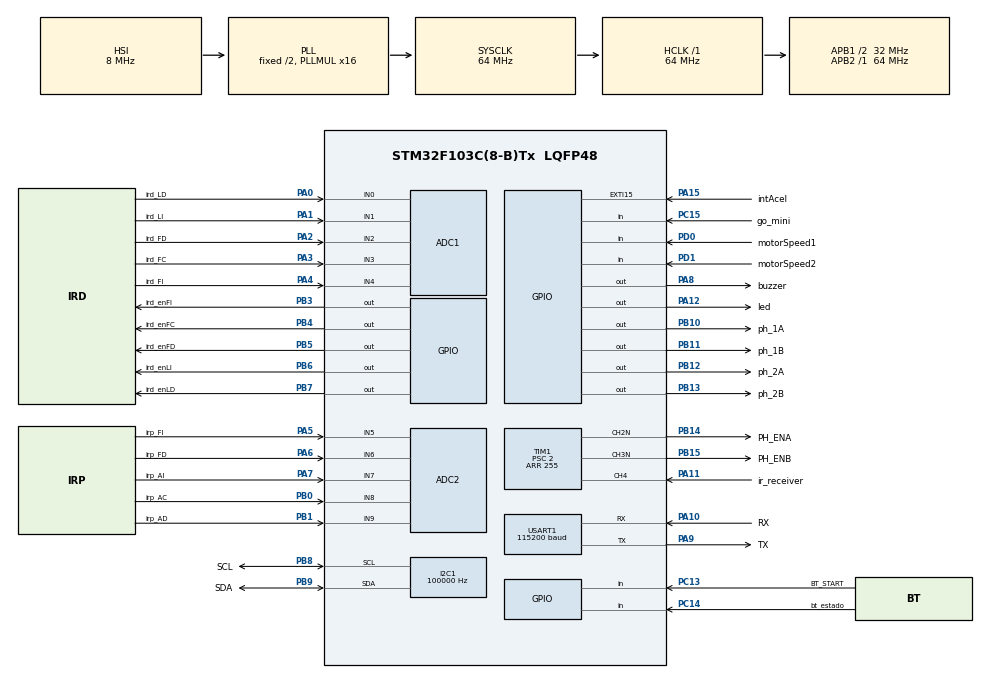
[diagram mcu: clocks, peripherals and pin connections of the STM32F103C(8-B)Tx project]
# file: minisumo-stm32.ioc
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ADC1.Channel-10\#ChannelRegularConversion=ADC_CHANNEL_1
ADC1.Channel-11\#ChannelRegularConversion=ADC_CHANNEL_2
ADC1.Channel-12\#ChannelRegularConversion=ADC_CHANNEL_3
ADC1.Channel-13\#ChannelRegularConversion=ADC_CHANNEL_4
ADC1.Channel-9\#ChannelRegularConversion=ADC_CHANNEL_0
ADC1.ContinuousConvMode=DISABLE
ADC1.DataAlign=ADC_DATAALIGN_RIGHT
ADC1.DiscontinuousConvMode=DISABLE
ADC1.EnableRegularConversion=ENABLE
ADC1.InjNumberOfConversion=0
ADC1.Mode=ADC_DUALMODE_REGSIMULT
ADC1.NbrOfConversion=5
ADC1.NbrOfConversionFlag=1
ADC1.Rank-10\#ChannelRegularConversion=2
ADC1.Rank-11\#ChannelRegularConversion=3
ADC1.Rank-12\#ChannelRegularConversion=4
ADC1.Rank-13\#ChannelRegularConversion=5
ADC1.Rank-9\#ChannelRegularConversion=1
ADC1.SamplingTime-10\#ChannelRegularConversion=ADC_SAMPLETIME_71CYCLES_5
ADC1.SamplingTime-11\#ChannelRegularConversion=ADC_SAMPLETIME_71CYCLES_5
ADC1.SamplingTime-12\#ChannelRegularConversion=ADC_SAMPLETIME_71CYCLES_5
ADC1.SamplingTime-13\#ChannelRegularConversion=ADC_SAMPLETIME_71CYCLES_5
ADC1.SamplingTime-9\#ChannelRegularConversion=ADC_SAMPLETIME_71CYCLES_5
ADC1.ScanConvMode=ADC_SCAN_ENABLE
ADC1.master=1
ADC2.Channel-31\#ChannelRegularConversion=ADC_CHANNEL_5
ADC2.Channel-36\#ChannelRegularConversion=ADC_CHANNEL_6
ADC2.Channel-37\#ChannelRegularConversion=ADC_CHANNEL_7
ADC2.Channel-38\#ChannelRegularConversion=ADC_CHANNEL_8
ADC2.Channel-39\#ChannelRegularConversion=ADC_CHANNEL_9
ADC2.ContinuousConvMode=DISABLE
ADC2.DataAlign=ADC_DATAALIGN_RIGHT
ADC2.DiscontinuousConvMode=DISABLE
ADC2.EnableAnalogWatchDog=false
ADC2.EnableRegularConversion=ENABLE
ADC2.InjNumberOfConversion=0
ADC2.Mode=ADC_DUALMODE_REGSIMULT
ADC2.NbrOfConversion=5
ADC2.NbrOfConversionFlag=1
ADC2.Rank-31\#ChannelRegularConversion=1
ADC2.Rank-36\#ChannelRegularConversion=2
ADC2.Rank-37\#ChannelRegularConversion=3
ADC2.Rank-38\#ChannelRegularConversion=4
ADC2.Rank-39\#ChannelRegularConversion=5
ADC2.SamplingTime-31\#ChannelRegularConversion=ADC_SAMPLETIME_71CYCLES_5
ADC2.SamplingTime-36\#ChannelRegularConversion=ADC_SAMPLETIME_71CYCLES_5
ADC2.SamplingTime-37\#ChannelRegularConversion=ADC_SAMPLETIME_71CYCLES_5
ADC2.SamplingTime-38\#ChannelRegularConversion=ADC_SAMPLETIME_71CYCLES_5
ADC2.SamplingTime-39\#ChannelRegularConversion=ADC_SAMPLETIME_71CYCLES_5
ADC2.ScanConvMode=ADC_SCAN_ENABLE
Dma.ADC1.2.Direction=DMA_PERIPH_TO_MEMORY
Dma.ADC1.2.Instance=DMA1_Channel1
Dma.ADC1.2.MemDataAlignment=DMA_MDATAALIGN_WORD
Dma.ADC1.2.MemInc=DMA_MINC_ENABLE
Dma.ADC1.2.Mode=DMA_NORMAL
Dma.ADC1.2.PeriphDataAlignment=DMA_PDATAALIGN_WORD
Dma.ADC1.2.PeriphInc=DMA_PINC_DISABLE
Dma.ADC1.2.Priority=DMA_PRIORITY_HIGH
Dma.I2C1_RX.3.Direction=DMA_PERIPH_TO_MEMORY
Dma.I2C1_RX.3.Instance=DMA1_Channel7
Dma.I2C1_RX.3.MemDataAlignment=DMA_MDATAALIGN_BYTE
Dma.I2C1_RX.3.MemInc=DMA_MINC_ENABLE
Dma.I2C1_RX.3.Mode=DMA_NORMAL
Dma.I2C1_RX.3.PeriphDataAlignment=DMA_PDATAALIGN_BYTE
Dma.I2C1_RX.3.PeriphInc=DMA_PINC_DISABLE
Dma.I2C1_RX.3.Priority=DMA_PRIORITY_VERY_HIGH
Dma.I2C1_TX.4.Direction=DMA_MEMORY_TO_PERIPH
Dma.I2C1_TX.4.Instance=DMA1_Channel6
Dma.I2C1_TX.4.MemDataAlignment=DMA_MDATAALIGN_BYTE
Dma.I2C1_TX.4.MemInc=DMA_MINC_ENABLE
Dma.I2C1_TX.4.Mode=DMA_NORMAL
Dma.I2C1_TX.4.PeriphDataAlignment=DMA_PDATAALIGN_BYTE
Dma.I2C1_TX.4.PeriphInc=DMA_PINC_DISABLE
Dma.I2C1_TX.4.Priority=DMA_PRIORITY_VERY_HIGH
Dma.Request0=USART1_RX
Dma.Request1=USART1_TX
Dma.Request2=ADC1
Dma.Request3=I2C1_RX
Dma.Request4=I2C1_TX
Dma.USART1_RX.0.Direction=DMA_PERIPH_TO_MEMORY
Dma.USART1_RX.0.Instance=DMA1_Channel5
Dma.USART1_RX.0.MemDataAlignment=DMA_MDATAALIGN_BYTE
Dma.USART1_RX.0.MemInc=DMA_MINC_ENABLE
Dma.USART1_RX.0.Mode=DMA_NORMAL
Dma.USART1_RX.0.PeriphDataAlignment=DMA_PDATAALIGN_BYTE
Dma.USART1_RX.0.PeriphInc=DMA_PINC_DISABLE
Dma.USART1_RX.0.Priority=DMA_PRIORITY_MEDIUM
Dma.USART1_TX.1.Direction=DMA_MEMORY_TO_PERIPH
Dma.USART1_TX.1.Instance=DMA1_Channel4
Dma.USART1_TX.1.MemDataAlignment=DMA_MDATAALIGN_BYTE
Dma.USART1_TX.1.MemInc=DMA_MINC_ENABLE
Dma.USART1_TX.1.Mode=DMA_NORMAL
Dma.USART1_TX.1.PeriphDataAlignment=DMA_PDATAALIGN_BYTE
Dma.USART1_TX.1.PeriphInc=DMA_PINC_DISABLE
Dma.USART1_TX.1.Priority=DMA_PRIORITY_LOW
FREERTOS.BinarySemaphores01=serialSemTx,Dynamic,NULL;serialSemRx,Dynamic,NULL;irdist,Dynamic,NULL;imuSem,Dynamic,NULL;irflr,Dynamic,NULL
FREERTOS.INCLUDE_uxTaskPriorityGet=0
FREERTOS.INCLUDE_vTaskDelete=0
FREERTOS.INCLUDE_vTaskPrioritySet=0
FREERTOS.INCLUDE_xTaskResumeFromISR=0
FREERTOS.MEMORY_ALLOCATION=2
FREERTOS.Queues01=serialQueue,4,message,0,Dynamic,NULL,NULL;motorRQueue,1,message,0,Dynamic,NULL,NULL;motorLQueue,1,message,0,Dynamic,NULL,NULL;sensorsDistQueue,1,message,0,Dynamic,NULL,NULL;sensorsFloorQueue,1,message,0,Dynamic,NULL,NULL;imuQueue,1,message,0,Dynamic,NULL,NULL;miniQueue,3,message,0,Dynamic,NULL,NULL
FREERTOS.Tasks01=defaultTask,0,64,StartDefaultTask,Default,NULL,Dynamic,NULL,NULL;motorD,0,64,motorR,As external,NULL,Dynamic,NULL,NULL;motorI,0,64,motorL,As external,NULL,Dynamic,NULL,NULL;usart,3,64,serial,As external,NULL,Dynamic,NULL,NULL;sensorFloor,2,64,sensorsFloor,As external,NULL,Dynamic,NULL,NULL;sensorDist,0,64,sensorsDist,As external,NULL,Dynamic,NULL,NULL;acelerometro,1,128,imu,As external,NULL,Dynamic,NULL,NULL;minisumo,0,64,mini,As external,NULL,Dynamic,NULL,NULL;oledDis,0,64,oled,As external,NULL,Dynamic,NULL,NULL
FREERTOS.configENABLE_BACKWARD_COMPATIBILITY=0
FREERTOS.configMAX_TASK_NAME_LEN=13
FREERTOS.configMINIMAL_STACK_SIZE=64
FREERTOS.configQUEUE_REGISTRY_SIZE=8
FREERTOS.configTOTAL_HEAP_SIZE=12500
FREERTOS.configUSE_MUTEXES=0
FREERTOS.configUSE_TASK_NOTIFICATIONS=1
FREERTOS.configUSE_TRACE_FACILITY=1
I2C1.ClockSpeed=100000
I2C1.I2C_Mode=I2C_Standard
I2C1.OwnAddress=0x0
Mcu.Family=STM32F1
Mcu.Name=STM32F103C(8-B)Tx
Mcu.Package=LQFP48
NVIC.ADC1_2_IRQn=true\:5\:0\:true\:false\:true\:true\:true\:true
NVIC.DMA1_Channel1_IRQn=true\:5\:0\:false\:false\:true\:true\:false\:true
NVIC.DMA1_Channel4_IRQn=true\:5\:0\:false\:false\:true\:true\:false\:true
NVIC.DMA1_Channel5_IRQn=true\:5\:0\:false\:false\:true\:true\:false\:true
NVIC.DMA1_Channel6_IRQn=true\:5\:0\:false\:false\:true\:true\:false\:true
NVIC.DMA1_Channel7_IRQn=true\:5\:0\:false\:false\:true\:true\:false\:true
NVIC.EXTI15_10_IRQn=true\:5\:0\:true\:false\:true\:true\:true\:true
NVIC.I2C1_ER_IRQn=true\:5\:0\:true\:false\:true\:true\:true\:true
NVIC.I2C1_EV_IRQn=true\:5\:0\:true\:false\:true\:true\:true\:true
NVIC.PriorityGroup=NVIC_PRIORITYGROUP_4
NVIC.TIM2_IRQn=true\:0\:0\:false\:false\:true\:false\:false\:true
NVIC.TimeBase=TIM2_IRQn
NVIC.TimeBaseIP=TIM2
NVIC.USART1_IRQn=true\:5\:0\:true\:false\:true\:true\:true\:true
PA0-WKUP.GPIO_Label=ird_LD
PA0-WKUP.Signal=ADCx_IN0
PA1.GPIO_Label=ird_LI
PA1.Signal=ADCx_IN1
PA10.GPIO_Label=RX
PA10.Mode=Asynchronous
PA10.Signal=USART1_RX
PA11.GPIO_Label=ir_receiver
PA11.Signal=S_TIM1_CH4
PA12.GPIO_Label=led
PA12.GPIO_Speed=GPIO_SPEED_FREQ_HIGH
PA12.Signal=GPIO_Output
PA13.Mode=Serial_Wire
PA13.Signal=SYS_JTMS-SWDIO
PA14.Mode=Serial_Wire
PA14.Signal=SYS_JTCK-SWCLK
PA15.GPIO_Label=intAcel
PA15.Signal=GPXTI15
PA2.GPIO_Label=ird_FD
PA2.Signal=ADCx_IN2
PA3.GPIO_Label=ird_FC
PA3.Signal=ADCx_IN3
PA4.GPIO_Label=ird_FI
PA4.Signal=ADCx_IN4
PA5.GPIO_Label=irp_FI
PA5.Signal=ADCx_IN5
PA6.GPIO_Label=irp_FD
PA6.Signal=ADCx_IN6
PA7.GPIO_Label=irp_AI
PA7.Signal=ADCx_IN7
PA8.GPIO_Label=buzzer
PA8.Signal=GPIO_Output
PA9.GPIO_Label=TX
PA9.Mode=Asynchronous
PA9.Signal=USART1_TX
PB0.GPIO_Label=irp_AC
PB0.Signal=ADCx_IN8
PB1.GPIO_Label=irp_AD
PB1.Signal=ADCx_IN9
PB10.GPIO_Label=ph_1A
PB10.GPIO_Speed=GPIO_SPEED_FREQ_LOW
PB10.Signal=GPIO_Output
PB11.GPIO_Label=ph_1B
PB11.Signal=GPIO_Output
PB12.GPIO_Label=ph_2A
PB12.Signal=GPIO_Output
PB13.GPIO_Label=ph_2B
PB13.Signal=GPIO_Output
PB14.GPIO_Label=PH_ENA
PB14.GPIO_Speed=GPIO_SPEED_FREQ_MEDIUM
PB14.Mode=PWM Generation2 CH2N
PB14.Signal=TIM1_CH2N
PB15.GPIO_Label=PH_ENB
PB15.GPIO_Speed=GPIO_SPEED_FREQ_MEDIUM
PB15.Mode=PWM Generation3 CH3N
PB15.Signal=TIM1_CH3N
PB3.GPIO_Label=ird_enFI
PB3.Signal=GPIO_Output
PB4.GPIO_Label=ird_enFC
PB4.Signal=GPIO_Output
PB5.GPIO_Label=ird_enFD
PB5.Signal=GPIO_Output
PB6.GPIO_Label=ird_enLI
PB6.Signal=GPIO_Output
PB7.GPIO_Label=ird_enLD
PB7.Signal=GPIO_Output
PB8.GPIO_Label=SCL
PB8.GPIO_Speed=GPIO_SPEED_FREQ_LOW
PB8.Mode=I2C
PB8.Signal=I2C1_SCL
PB9.GPIO_Label=SDA
PB9.GPIO_Speed=GPIO_SPEED_FREQ_LOW
PB9.Mode=I2C
PB9.Signal=I2C1_SDA
PC13-TAMPER-RTC.GPIO_Label=BT_START
PC13-TAMPER-RTC.Signal=GPIO_Input
PC14-OSC32_IN.GPIO_Label=bt_estado
PC14-OSC32_IN.Signal=GPIO_Input
PC15-OSC32_OUT.GPIO_Label=go_mini
PC15-OSC32_OUT.Signal=GPIO_Input
PD0-OSC_IN.GPIO_Label=motorSpeed1
PD0-OSC_IN.Signal=GPIO_Input
PD1-OSC_OUT.GPIO_Label=motorSpeed2
PD1-OSC_OUT.Signal=GPIO_Input
ProjectManager.HeapSize=0x200
ProjectManager.StackSize=0x400
ProjectManager.TargetToolchain=SW4STM32
RCC.ADCPresc=RCC_ADCPCLK2_DIV6
RCC.AHBFreq_Value=64000000
RCC.APB1CLKDivider=RCC_HCLK_DIV2
RCC.APB1Freq_Value=32000000
RCC.APB1TimFreq_Value=64000000
RCC.APB2Freq_Value=64000000
RCC.APB2TimFreq_Value=64000000
RCC.HCLKFreq_Value=64000000
RCC.PLLMUL=RCC_PLL_MUL16
RCC.SYSCLKFreq_VALUE=64000000
RCC.SYSCLKSource=RCC_SYSCLKSOURCE_PLLCLK
RCC.USBFreq_Value=64000000
SH.ADCx_IN0.0=ADC1_IN0,IN0
SH.ADCx_IN1.0=ADC1_IN1,IN1
SH.ADCx_IN2.0=ADC1_IN2,IN2
SH.ADCx_IN3.0=ADC1_IN3,IN3
SH.ADCx_IN4.0=ADC1_IN4,IN4
SH.ADCx_IN5.0=ADC2_IN5,IN5
SH.ADCx_IN6.0=ADC2_IN6,IN6
SH.ADCx_IN7.0=ADC2_IN7,IN7
SH.ADCx_IN8.0=ADC2_IN8,IN8
SH.ADCx_IN9.0=ADC2_IN9,IN9
SH.S_TIM1_CH4.0=TIM1_CH4,Input_Capture4_from_TI4
TIM1.AutoReloadPreload=TIM_AUTORELOAD_PRELOAD_DISABLE
TIM1.Channel-Input_Capture4_from_TI4=TIM_CHANNEL_4
TIM1.Channel-PWM\ Generation2\ CH2N=TIM_CHANNEL_2
TIM1.Channel-PWM\ Generation3\ CH3N=TIM_CHANNEL_3
TIM1.OCMode_PWM-PWM\ Generation3\ CH3N=TIM_OCMODE_PWM2
TIM1.OCNPolarity_2=TIM_OCNPOLARITY_HIGH
TIM1.OCNPolarity_3=TIM_OCNPOLARITY_LOW
TIM1.Period=255
TIM1.Prescaler=2
TIM1.Pulse-PWM\ Generation2\ CH2N=120
TIM1.Pulse-PWM\ Generation3\ CH3N=120
USART1.BaudRate=115200
USART1.VirtualMode=VM_ASYNC
VP_FREERTOS_VS_CMSIS_V1.Mode=CMSIS_V1
VP_SYS_VS_tim2.Mode=TIM2
VP_TIM1_VS_ClockSourceINT.Mode=Internal
board=custom

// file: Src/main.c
/* USER CODE BEGIN Header */
/**
  ******************************************************************************
  * @file           : main.c
  * @brief          : Main program body
  ******************************************************************************
  * This notice applies to any and all portions of this file
  * that are not between comment pairs USER CODE BEGIN and
  * USER CODE END. Other portions of this file, whether
  * inserted by the user or by software development tools
  * are owned by their respective copyright owners.
  *
  * Copyright (c) 2018 STMicroelectronics International N.V.
  * All rights reserved.
  *
  * Redistribution and use in source and binary forms, with or without
  * modification, are permitted, provided that the following conditions are met:
  *
  * 1. Redistribution of source code must retain the above copyright notice,
  *    this list of conditions and the following disclaimer.
  * 2. Redistributions in binary form must reproduce the above copyright notice,
  *    this list of conditions and the following disclaimer in the documentation
  *    and/or other materials provided with the distribution.
  * 3. Neither the name of STMicroelectronics nor the names of other
  *    contributors to this software may be used to endorse or promote products
  *    derived from this software without specific written permission.
  * 4. This software, including modifications and/or derivative works of this
  *    software, must execute solely and exclusively on microcontroller or
  *    microprocessor devices manufactured by or for STMicroelectronics.
  * 5. Redistribution and use of this software other than as permitted under
  *    this license is void and will automatically terminate your rights under
  *    this license.
  *
  * THIS SOFTWARE IS PROVIDED BY STMICROELECTRONICS AND CONTRIBUTORS "AS IS"
  * AND ANY EXPRESS, IMPLIED OR STATUTORY WARRANTIES, INCLUDING, BUT NOT
  * LIMITED TO, THE IMPLIED WARRANTIES OF MERCHANTABILITY, FITNESS FOR A
  * PARTICULAR PURPOSE AND NON-INFRINGEMENT OF THIRD PARTY INTELLECTUAL PROPERTY
  * RIGHTS ARE DISCLAIMED TO THE FULLEST EXTENT PERMITTED BY LAW. IN NO EVENT
  * SHALL STMICROELECTRONICS OR CONTRIBUTORS BE LIABLE FOR ANY DIRECT, INDIRECT,
  * INCIDENTAL, SPECIAL, EXEMPLARY, OR CONSEQUENTIAL DAMAGES (INCLUDING, BUT NOT
  * LIMITED TO, PROCUREMENT OF SUBSTITUTE GOODS OR SERVICES; LOSS OF USE, DATA,
  * OR PROFITS; OR BUSINESS INTERRUPTION) HOWEVER CAUSED AND ON ANY THEORY OF
  * LIABILITY, WHETHER IN CONTRACT, STRICT LIABILITY, OR TORT (INCLUDING
  * NEGLIGENCE OR OTHERWISE) ARISING IN ANY WAY OUT OF THE USE OF THIS SOFTWARE,
  * EVEN IF ADVISED OF THE POSSIBILITY OF SUCH DAMAGE.
  *
  ******************************************************************************
  */
/* USER CODE END Header */

#include "main.h"
#include "cmsis_os.h"
#include "adc.h"
#include "dma.h"
#include "i2c.h"
#include "tim.h"
#include "usart.h"
#include "gpio.h"

/* USER CODE BEGIN PV */
/* Private variables ---------------------------------------------------------*/
typedef struct puentehTag{
  uint16_t velDerecha;
  uint16_t velIzquierda;
  uint8_t dirDerecha : 2;
  uint8_t dirIzquierda : 2;
  //sobran 4bits
}puenteH;
/* USER CODE END PV */

void SystemClock_Config(void);
void MX_FREERTOS_Init(void);
/* USER CODE BEGIN PFP */
/* Private function prototypes -----------------------------------------------*/

/* USER CODE END PFP */

int main(void)
{

  /* MCU Configuration--------------------------------------------------------*/

  /* Reset of all peripherals, Initializes the Flash interface and the Systick. */
  HAL_Init();

  /* Configure the system clock */
  SystemClock_Config();

  /* Initialize all configured peripherals */
  MX_GPIO_Init();
  MX_DMA_Init();
  MX_USART1_UART_Init();
  MX_TIM1_Init();
  MX_ADC1_Init();
  MX_I2C1_Init();
  MX_ADC2_Init();
  /* USER CODE BEGIN 2 */
  HAL_UART_Transmit(&huart1,(uint8_t *)"Minisumo proyect author: Hector Manuel\r\n",40,200);
  //HAL_NVIC_DisableIRQ(EXTI15_10_IRQn);
  //  HAL_TIM_Base_Start_IT(&htim3);
  /* USER CODE END 2 */

  /* Call init function for freertos objects (in freertos.c) */
  MX_FREERTOS_Init();
  /* Start scheduler */
  osKernelStart();

  /* We should never get here as control is now taken by the scheduler */
  /* Infinite loop */
  while (1)
    {

    }
}

void SystemClock_Config(void)
{
  RCC_OscInitTypeDef RCC_OscInitStruct = {0};
  RCC_ClkInitTypeDef RCC_ClkInitStruct = {0};
  RCC_PeriphCLKInitTypeDef PeriphClkInit = {0};

  /** Initializes the CPU, AHB and APB busses clocks
  */
  RCC_OscInitStruct.OscillatorType = RCC_OSCILLATORTYPE_HSI;
  RCC_OscInitStruct.HSIState = RCC_HSI_ON;
  RCC_OscInitStruct.HSICalibrationValue = RCC_HSICALIBRATION_DEFAULT;
  RCC_OscInitStruct.PLL.PLLState = RCC_PLL_ON;
  RCC_OscInitStruct.PLL.PLLSource = RCC_PLLSOURCE_HSI_DIV2;
  RCC_OscInitStruct.PLL.PLLMUL = RCC_PLL_MUL16;
  if (HAL_RCC_OscConfig(&RCC_OscInitStruct) != HAL_OK)
  {
    Error_Handler();
  }
  /** Initializes the CPU, AHB and APB busses clocks
  */
  RCC_ClkInitStruct.ClockType = RCC_CLOCKTYPE_HCLK|RCC_CLOCKTYPE_SYSCLK
                              |RCC_CLOCKTYPE_PCLK1|RCC_CLOCKTYPE_PCLK2;
  RCC_ClkInitStruct.SYSCLKSource = RCC_SYSCLKSOURCE_PLLCLK;
  RCC_ClkInitStruct.AHBCLKDivider = RCC_SYSCLK_DIV1;
  RCC_ClkInitStruct.APB1CLKDivider = RCC_HCLK_DIV2;
  RCC_ClkInitStruct.APB2CLKDivider = RCC_HCLK_DIV1;

  if (HAL_RCC_ClockConfig(&RCC_ClkInitStruct, FLASH_LATENCY_2) != HAL_OK)
  {
    Error_Handler();
  }
  PeriphClkInit.PeriphClockSelection = RCC_PERIPHCLK_ADC;
  PeriphClkInit.AdcClockSelection = RCC_ADCPCLK2_DIV6;
  if (HAL_RCCEx_PeriphCLKConfig(&PeriphClkInit) != HAL_OK)
  {
    Error_Handler();
  }
}

 /**
  * @brief  Period elapsed callback in non blocking mode
  * @note   This function is called  when TIM2 interrupt took place, inside
  * HAL_TIM_IRQHandler(). It makes a direct call to HAL_IncTick() to increment
  * a global variable "uwTick" used as application time base.
  * @param  htim : TIM handle
  * @retval None
  */
void HAL_TIM_PeriodElapsedCallback(TIM_HandleTypeDef *htim)
{
  if (htim->Instance == TIM2) {
    HAL_IncTick();
  }
  /* USER CODE BEGIN Callback 1 */
  if(htim->Instance == TIM3){
    HAL_GPIO_TogglePin(led_GPIO_Port, led_Pin);
    //    HAL_TIM_Base_Start_IT(&htim3);
      }
  /* USER CODE END Callback 1 */
}

void Error_Handler(void)
{
  /* USER CODE BEGIN Error_Handler_Debug */
  /* User can add his own implementation to report the HAL error return state */
  while(1)
  {
    HAL_UART_Transmit(&huart1,(uint8_t*)"ERRORHANDLER",12,1000);
  }
  /* USER CODE END Error_Handler_Debug */
}

/************************ (C) COPYRIGHT STMicroelectronics *****END OF FILE****/

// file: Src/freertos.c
/* USER CODE BEGIN Header */
/**
  ******************************************************************************
  * File Name          : freertos.c
  * Description        : Code for freertos applications
  ******************************************************************************
  * This notice applies to any and all portions of this file
  * that are not between comment pairs USER CODE BEGIN and
  * USER CODE END. Other portions of this file, whether
  * inserted by the user or by software development tools
  * are owned by their respective copyright owners.
  *
  * Copyright (c) 2018 STMicroelectronics International N.V.
  * All rights reserved.
  *
  * Redistribution and use in source and binary forms, with or without
  * modification, are permitted, provided that the following conditions are met:
  *
  * 1. Redistribution of source code must retain the above copyright notice,
  *    this list of conditions and the following disclaimer.
  * 2. Redistributions in binary form must reproduce the above copyright notice,
  *    this list of conditions and the following disclaimer in the documentation
  *    and/or other materials provided with the distribution.
  * 3. Neither the name of STMicroelectronics nor the names of other
  *    contributors to this software may be used to endorse or promote products
  *    derived from this software without specific written permission.
  * 4. This software, including modifications and/or derivative works of this
  *    software, must execute solely and exclusively on microcontroller or
  *    microprocessor devices manufactured by or for STMicroelectronics.
  * 5. Redistribution and use of this software other than as permitted under
  *    this license is void and will automatically terminate your rights under
  *    this license.
  *
  * THIS SOFTWARE IS PROVIDED BY STMICROELECTRONICS AND CONTRIBUTORS "AS IS"
  * AND ANY EXPRESS, IMPLIED OR STATUTORY WARRANTIES, INCLUDING, BUT NOT
  * LIMITED TO, THE IMPLIED WARRANTIES OF MERCHANTABILITY, FITNESS FOR A
  * PARTICULAR PURPOSE AND NON-INFRINGEMENT OF THIRD PARTY INTELLECTUAL PROPERTY
  * RIGHTS ARE DISCLAIMED TO THE FULLEST EXTENT PERMITTED BY LAW. IN NO EVENT
  * SHALL STMICROELECTRONICS OR CONTRIBUTORS BE LIABLE FOR ANY DIRECT, INDIRECT,
  * INCIDENTAL, SPECIAL, EXEMPLARY, OR CONSEQUENTIAL DAMAGES (INCLUDING, BUT NOT
  * LIMITED TO, PROCUREMENT OF SUBSTITUTE GOODS OR SERVICES; LOSS OF USE, DATA,
  * OR PROFITS; OR BUSINESS INTERRUPTION) HOWEVER CAUSED AND ON ANY THEORY OF
  * LIABILITY, WHETHER IN CONTRACT, STRICT LIABILITY, OR TORT (INCLUDING
  * NEGLIGENCE OR OTHERWISE) ARISING IN ANY WAY OUT OF THE USE OF THIS SOFTWARE,
  * EVEN IF ADVISED OF THE POSSIBILITY OF SUCH DAMAGE.
  *
  ******************************************************************************
  */
/* USER CODE END Header */

#include "FreeRTOS.h"
#include "task.h"
#include "main.h"
#include "cmsis_os.h"

/* USER CODE BEGIN Includes */
//#include "message.h"
#include "../Application/Inc/message.h"
#include "usart.h"
/* USER CODE END Includes */

osThreadId defaultTaskHandle;
osThreadId motorDHandle;
osThreadId motorIHandle;
osThreadId usartHandle;
osThreadId sensorFloorHandle;
osThreadId sensorDistHandle;
osThreadId acelerometroHandle;
osThreadId minisumoHandle;
osThreadId oledDisHandle;
osMessageQId serialQueueHandle;
osMessageQId motorRQueueHandle;
osMessageQId motorLQueueHandle;
osMessageQId sensorsDistQueueHandle;
osMessageQId sensorsFloorQueueHandle;
osMessageQId imuQueueHandle;
osMessageQId miniQueueHandle;
osSemaphoreId serialSemTxHandle;
osSemaphoreId serialSemRxHandle;
osSemaphoreId irdistHandle;
osSemaphoreId imuSemHandle;
osSemaphoreId irflrHandle;

/* USER CODE BEGIN FunctionPrototypes */
//extern osMessageQId* serialQHandle;
/* USER CODE END FunctionPrototypes */

void StartDefaultTask(void const * argument);
extern void motorR(void const * argument);
extern void motorL(void const * argument);
extern void serial(void const * argument);
extern void sensorsFloor(void const * argument);
extern void sensorsDist(void const * argument);
extern void imu(void const * argument);
extern void mini(void const * argument);
extern void oled(void const * argument);

void MX_FREERTOS_Init(void); /* (MISRA C 2004 rule 8.1) */

/* GetIdleTaskMemory prototype (linked to static allocation support) */
void vApplicationGetIdleTaskMemory( StaticTask_t **ppxIdleTaskTCBBuffer, StackType_t **ppxIdleTaskStackBuffer, uint32_t *pulIdleTaskStackSize );

/* USER CODE BEGIN GET_IDLE_TASK_MEMORY */
static StaticTask_t xIdleTaskTCBBuffer;
static StackType_t xIdleStack[configMINIMAL_STACK_SIZE];

void vApplicationGetIdleTaskMemory( StaticTask_t **ppxIdleTaskTCBBuffer, StackType_t **ppxIdleTaskStackBuffer, uint32_t *pulIdleTaskStackSize )
{
  *ppxIdleTaskTCBBuffer = &xIdleTaskTCBBuffer;
  *ppxIdleTaskStackBuffer = &xIdleStack[0];
  *pulIdleTaskStackSize = configMINIMAL_STACK_SIZE;
  /* place for user code */
}
/* USER CODE END GET_IDLE_TASK_MEMORY */

void MX_FREERTOS_Init(void) {
  /* USER CODE BEGIN Init */
  HAL_UART_Transmit(&huart1,(uint8_t *)"Inicializacion de FreeRtos\r\n",28,200);
  HAL_UART_Transmit(&huart1,(uint8_t *)"creacion de semaforos\r\n",23,200);
  /* USER CODE END Init */

  /* Create the semaphores(s) */
  /* definition and creation of serialSemTx */
  osSemaphoreDef(serialSemTx);
  serialSemTxHandle = osSemaphoreCreate(osSemaphore(serialSemTx), 1);

  /* definition and creation of serialSemRx */
  osSemaphoreDef(serialSemRx);
  serialSemRxHandle = osSemaphoreCreate(osSemaphore(serialSemRx), 1);

  /* definition and creation of irdist */
  osSemaphoreDef(irdist);
  irdistHandle = osSemaphoreCreate(osSemaphore(irdist), 1);

  /* definition and creation of imuSem */
  osSemaphoreDef(imuSem);
  imuSemHandle = osSemaphoreCreate(osSemaphore(imuSem), 1);

  /* definition and creation of irflr */
  osSemaphoreDef(irflr);
  irflrHandle = osSemaphoreCreate(osSemaphore(irflr), 1);

  /* USER CODE BEGIN RTOS_TIMERS */
  /* start timers, add new ones, ... */
  HAL_UART_Transmit(&huart1,(uint8_t *)"Creacion de colas de comunicacion\r\n",35,200);
  /* USER CODE END RTOS_TIMERS */

  /* Create the queue(s) */
  /* definition and creation of serialQueue */
  osMessageQDef(serialQueue, 4, message);
  serialQueueHandle = osMessageCreate(osMessageQ(serialQueue), NULL);

  /* definition and creation of motorRQueue */
  osMessageQDef(motorRQueue, 1, message);
  motorRQueueHandle = osMessageCreate(osMessageQ(motorRQueue), NULL);

  /* definition and creation of motorLQueue */
  osMessageQDef(motorLQueue, 1, message);
  motorLQueueHandle = osMessageCreate(osMessageQ(motorLQueue), NULL);

  /* definition and creation of sensorsDistQueue */
  osMessageQDef(sensorsDistQueue, 1, message);
  sensorsDistQueueHandle = osMessageCreate(osMessageQ(sensorsDistQueue), NULL);

  /* definition and creation of sensorsFloorQueue */
  osMessageQDef(sensorsFloorQueue, 1, message);
  sensorsFloorQueueHandle = osMessageCreate(osMessageQ(sensorsFloorQueue), NULL);

  /* definition and creation of imuQueue */
  osMessageQDef(imuQueue, 1, message);
  imuQueueHandle = osMessageCreate(osMessageQ(imuQueue), NULL);

  /* definition and creation of miniQueue */
  osMessageQDef(miniQueue, 3, message);
  miniQueueHandle = osMessageCreate(osMessageQ(miniQueue), NULL);

  /* USER CODE BEGIN RTOS_QUEUES */
  /* add queues, ... */
  // serialQHandle = &serialQueueHandle;
  HAL_UART_Transmit(&huart1,(uint8_t *)"Creacion de tareas\r\n",20,200);
  /* USER CODE END RTOS_QUEUES */

  /* Create the thread(s) */
  /* definition and creation of defaultTask */
  osThreadDef(defaultTask, StartDefaultTask, osPriorityNormal, 0, 64);
  defaultTaskHandle = osThreadCreate(osThread(defaultTask), NULL);

  /* definition and creation of motorD */
  osThreadDef(motorD, motorR, osPriorityNormal, 0, 64);
  motorDHandle = osThreadCreate(osThread(motorD), NULL);

  /* definition and creation of motorI */
  osThreadDef(motorI, motorL, osPriorityNormal, 0, 64);
  motorIHandle = osThreadCreate(osThread(motorI), NULL);

  /* definition and creation of usart */
  osThreadDef(usart, serial, osPriorityRealtime, 0, 64);
  usartHandle = osThreadCreate(osThread(usart), NULL);

  /* definition and creation of sensorFloor */
  osThreadDef(sensorFloor, sensorsFloor, osPriorityHigh, 0, 64);
  sensorFloorHandle = osThreadCreate(osThread(sensorFloor), NULL);

  /* definition and creation of sensorDist */
  osThreadDef(sensorDist, sensorsDist, osPriorityNormal, 0, 64);
  sensorDistHandle = osThreadCreate(osThread(sensorDist), NULL);

  /* definition and creation of acelerometro */
  osThreadDef(acelerometro, imu, osPriorityAboveNormal, 0, 128);
  acelerometroHandle = osThreadCreate(osThread(acelerometro), NULL);

  /* definition and creation of minisumo */
  osThreadDef(minisumo, mini, osPriorityNormal, 0, 64);
  minisumoHandle = osThreadCreate(osThread(minisumo), NULL);

  /* definition and creation of oledDis */
  osThreadDef(oledDis, oled, osPriorityNormal, 0, 64);
  oledDisHandle = osThreadCreate(osThread(oledDis), NULL);

  /* USER CODE BEGIN RTOS_THREADS */
  /* add threads, ... */
  HAL_UART_Transmit(&huart1,(uint8_t *)"iniciando FreeRtos\r\n",20,200);
  /* USER CODE END RTOS_THREADS */

}

void StartDefaultTask(void const * argument)
{
  /* USER CODE BEGIN StartDefaultTask */
  UNUSED(argument);
  /* Infinite loop */
  for(;;)
      {
	osDelay(1);
      }
  /* USER CODE END StartDefaultTask */
}

/************************ (C) COPYRIGHT STMicroelectronics *****END OF FILE****/
